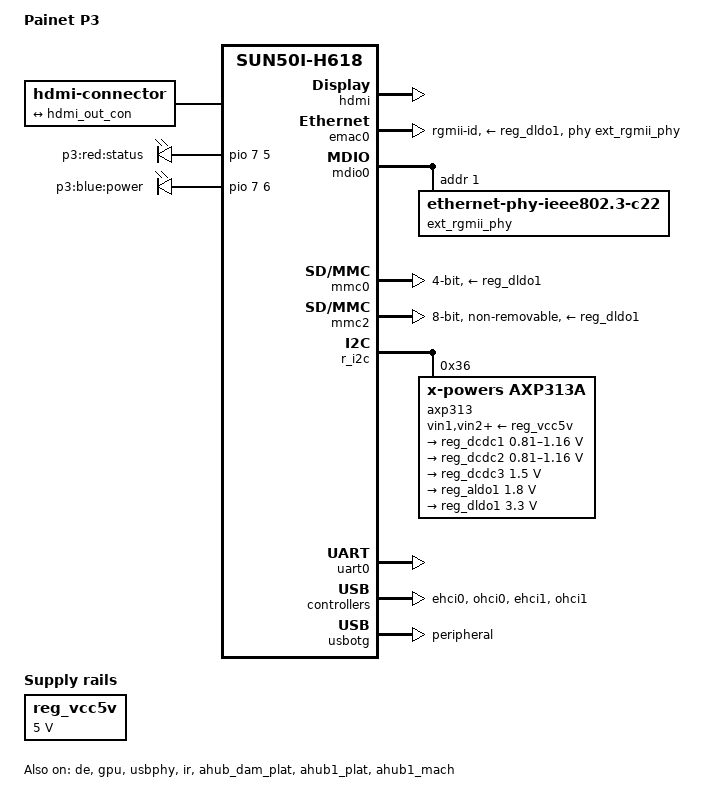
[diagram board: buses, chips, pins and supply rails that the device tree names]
// SPDX-License-Identifier: (GPL-2.0+ OR MIT)
/*
 * Device tree for Painet P3 box.
 *
 */

/dts-v1/;

#include "sun50i-h616.dtsi"
#include "sun50i-h616-cpu-opp.dtsi"
#include <dt-bindings/gpio/gpio.h>
#include <dt-bindings/interrupt-controller/arm-gic.h>
#include <dt-bindings/leds/common.h>

/ {
	model = "Painet P3";
	compatible = "painet,p3", "allwinner,sun50i-h618";

	aliases {
		ethernet0 = &emac0;
		mmc0 = &mmc0;
		mmc2 = &mmc2;
		serial0 = &uart0;
	};

	chosen {
		stdout-path = "serial0:115200n8";
	};

	/* HDMI connector (Type-A) */
	connector {
		compatible = "hdmi-connector";
		type = "a";

		port {
			hdmi_con_in: endpoint {
				remote-endpoint = <&hdmi_out_con>;
			};
		};
	};

	/* Board 5 V rail coming from the DC jack */
	reg_vcc5v: regulator-vcc5v {
		compatible = "regulator-fixed";
		regulator-name = "vcc-5v";
		regulator-min-microvolt = <5000000>;
		regulator-max-microvolt = <5000000>;
		regulator-always-on;
	};

	leds {
		compatible = "gpio-leds";

		led-red {
			label = "p3:red:status";
			gpios = <&pio 7 5 GPIO_ACTIVE_HIGH>; /* PH5 */
			default-state = "off";
		};

		led-blue {
			label = "p3:blue:power";
			gpios = <&pio 7 6 GPIO_ACTIVE_HIGH>; /* PH6 */
			default-state = "on";
		};
	};
};

&cpu0 {
	cpu-supply = <&reg_dcdc2>;
};

&de {
	status = "okay";
};

&gpu {
	mali-supply = <&reg_dcdc1>;
	status = "okay";
};

&hdmi {
	hvcc-supply = <&reg_aldo1>;
	status = "okay";
};

&hdmi_out {
	hdmi_out_con: endpoint {
		remote-endpoint = <&hdmi_con_in>;
	};
};

&emac0 {
	pinctrl-names = "default";
	pinctrl-0 = <&ext_rgmii_pins>;
	phy-mode = "rgmii-id";
	phy-handle = <&ext_rgmii_phy>;
	phy-supply = <&reg_dldo1>;
	status = "okay";
};

&mdio0 {
	ext_rgmii_phy: ethernet-phy@1 {
		compatible = "ethernet-phy-ieee802.3-c22";
		reg = <1>;
	};
};

&mmc0 {
	vmmc-supply = <&reg_dldo1>;
	broken-cd;
	bus-width = <4>;
	status = "okay";
};

&mmc2 {
	vmmc-supply = <&reg_dldo1>;
	vqmmc-supply = <&reg_aldo1>;
	bus-width = <8>;
	non-removable;
	cap-mmc-hw-reset;
	mmc-ddr-1_8v;
	mmc-hs200-1_8v;
	/*
	 * Board signal integrity limits eMMC to ~120MHz;
	 * 150MHz causes data errors (PCB layout constraint).
	 */
	max-frequency = <120000000>;
	status = "okay";
};

&pio {
	vcc-pc-supply = <&reg_aldo1>; /* PC bank feeds eMMC (1.8 V) */
	vcc-pf-supply = <&reg_dldo1>; /* PF bank feeds SD */
	vcc-pg-supply = <&reg_dldo1>;
	vcc-ph-supply = <&reg_dldo1>;
	vcc-pi-supply = <&reg_dldo1>; /* PI bank: RGMII to RTL8211F (3.3V) */
};

&r_i2c {
	status = "okay";

	axp313: pmic@36 {
		compatible = "x-powers,axp313a";
		reg = <0x36>;
		#interrupt-cells = <1>;
		interrupt-controller;

		vin1-supply = <&reg_vcc5v>;
		vin2-supply = <&reg_vcc5v>;
		vin3-supply = <&reg_vcc5v>;

		regulators {
			reg_dcdc1: dcdc1 {
				regulator-always-on;
				regulator-min-microvolt = <810000>;
				regulator-max-microvolt = <1160000>;
				regulator-name = "vdd-gpu-sys";
			};

			reg_dcdc2: dcdc2 {
				regulator-always-on;
				regulator-min-microvolt = <810000>;
				regulator-max-microvolt = <1160000>;
				regulator-ramp-delay = <2500>;
				regulator-name = "vdd-cpu";
			};

			reg_dcdc3: dcdc3 {
				regulator-always-on;
				regulator-min-microvolt = <1500000>;
				regulator-max-microvolt = <1500000>;
				regulator-name = "vdd-dram";
			};

			reg_aldo1: aldo1 {
				regulator-always-on;
				regulator-min-microvolt = <1800000>;
				regulator-max-microvolt = <1800000>;
				regulator-name = "vcc1v8";
			};

			reg_dldo1: dldo1 {
				regulator-always-on;
				regulator-min-microvolt = <3300000>;
				regulator-max-microvolt = <3300000>;
				regulator-name = "vcc3v3";
			};
		};
	};
};

&uart0 {
	pinctrl-names = "default";
	pinctrl-0 = <&uart0_ph_pins>;
	status = "okay";
};

&ehci0 {
	status = "okay";
};

&ohci0 {
	status = "okay";
};

&ehci1 {
	status = "okay";
};

&ohci1 {
	status = "okay";
};

&usbotg {
	dr_mode = "peripheral";
	status = "okay";
};

&usbphy {
	usb1_vbus-supply = <&reg_vcc5v>;
	status = "okay";
};

&ir {
	status = "okay";
};

&ahub_dam_plat {
	status = "okay";
};

&ahub1_plat {
	status = "okay";
};

&ahub1_mach {
	status = "okay";
};
